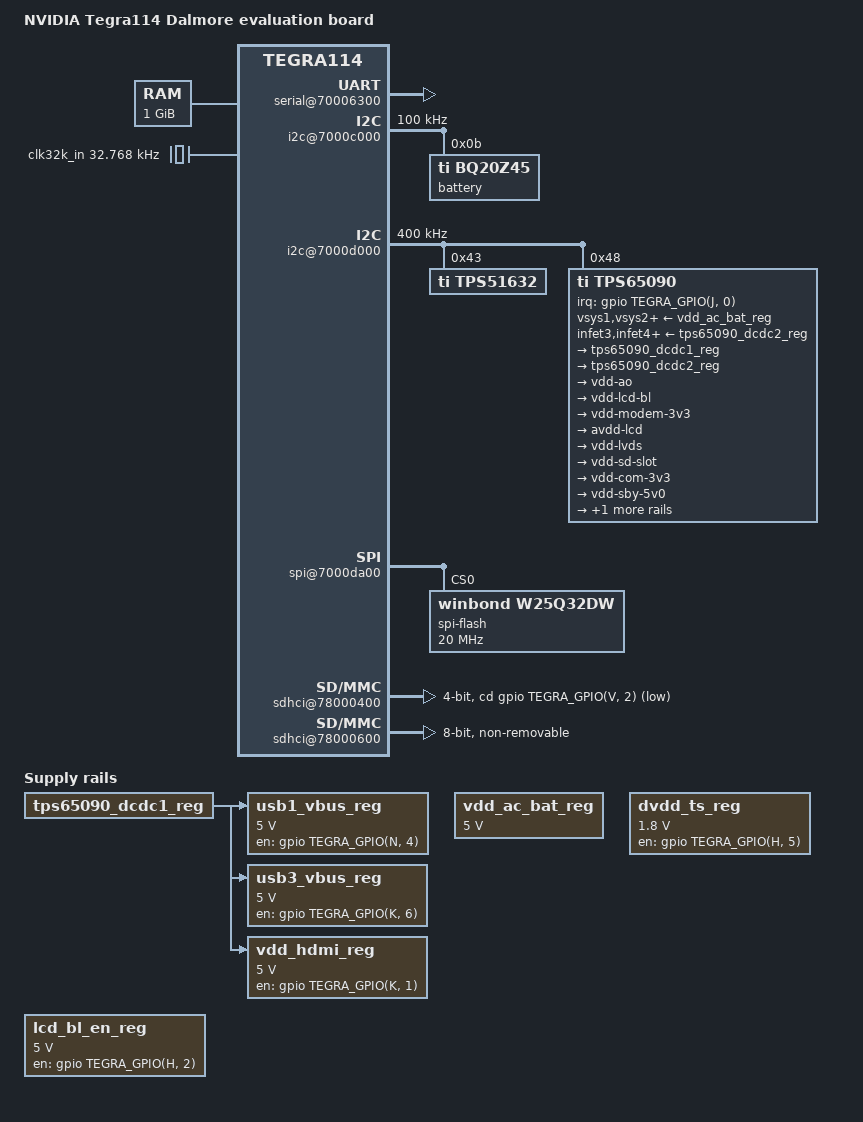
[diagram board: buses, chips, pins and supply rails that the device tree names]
/dts-v1/;

#include "tegra114.dtsi"

/ {
	model = "NVIDIA Tegra114 Dalmore evaluation board";
	compatible = "nvidia,dalmore", "nvidia,tegra114";

	memory {
		reg = <0x80000000 0x40000000>;
	};

	pinmux {
		pinctrl-names = "default";
		pinctrl-0 = <&state_default>;

		state_default: pinmux {
			clk1_out_pw4 {
				nvidia,pins = "clk1_out_pw4";
				nvidia,function = "extperiph1";
				nvidia,pull = <0>;
				nvidia,tristate = <0>;
				nvidia,enable-input = <0>;
			};
			dap1_din_pn1 {
				nvidia,pins = "dap1_din_pn1";
				nvidia,function = "i2s0";
				nvidia,pull = <0>;
				nvidia,tristate = <1>;
				nvidia,enable-input = <1>;
			};
			dap1_dout_pn2 {
				nvidia,pins = "dap1_dout_pn2",
						"dap1_fs_pn0",
						"dap1_sclk_pn3";
				nvidia,function = "i2s0";
				nvidia,pull = <0>;
				nvidia,tristate = <0>;
				nvidia,enable-input = <1>;
			};
			dap2_din_pa4 {
				nvidia,pins = "dap2_din_pa4";
				nvidia,function = "i2s1";
				nvidia,pull = <0>;
				nvidia,tristate = <1>;
				nvidia,enable-input = <1>;
			};
			dap2_dout_pa5 {
				nvidia,pins = "dap2_dout_pa5",
						"dap2_fs_pa2",
						"dap2_sclk_pa3";
				nvidia,function = "i2s1";
				nvidia,pull = <0>;
				nvidia,tristate = <0>;
				nvidia,enable-input = <1>;
			};
			dap4_din_pp5 {
				nvidia,pins = "dap4_din_pp5",
						"dap4_dout_pp6",
						"dap4_fs_pp4",
						"dap4_sclk_pp7";
				nvidia,function = "i2s3";
				nvidia,pull = <0>;
				nvidia,tristate = <0>;
				nvidia,enable-input = <1>;
			};
			dvfs_pwm_px0 {
				nvidia,pins = "dvfs_pwm_px0",
						"dvfs_clk_px2";
				nvidia,function = "cldvfs";
				nvidia,pull = <0>;
				nvidia,tristate = <0>;
				nvidia,enable-input = <0>;
			};
			ulpi_clk_py0 {
				nvidia,pins = "ulpi_clk_py0",
						"ulpi_data0_po1",
						"ulpi_data1_po2",
						"ulpi_data2_po3",
						"ulpi_data3_po4",
						"ulpi_data4_po5",
						"ulpi_data5_po6",
						"ulpi_data6_po7",
						"ulpi_data7_po0";
				nvidia,function = "ulpi";
				nvidia,pull = <0>;
				nvidia,tristate = <0>;
				nvidia,enable-input = <1>;
			};
			ulpi_dir_py1 {
				nvidia,pins = "ulpi_dir_py1",
						"ulpi_nxt_py2";
				nvidia,function = "ulpi";
				nvidia,pull = <0>;
				nvidia,tristate = <1>;
				nvidia,enable-input = <1>;
			};
			ulpi_stp_py3 {
				nvidia,pins = "ulpi_stp_py3";
				nvidia,function = "ulpi";
				nvidia,pull = <0>;
				nvidia,tristate = <0>;
				nvidia,enable-input = <0>;
			};
			cam_i2c_scl_pbb1 {
				nvidia,pins = "cam_i2c_scl_pbb1",
						"cam_i2c_sda_pbb2";
				nvidia,function = "i2c3";
				nvidia,pull = <0>;
				nvidia,tristate = <0>;
				nvidia,enable-input = <1>;
				nvidia,lock = <0>;
				nvidia,open-drain = <0>;
			};
			cam_mclk_pcc0 {
				nvidia,pins = "cam_mclk_pcc0",
						"pbb0";
				nvidia,function = "vi_alt3";
				nvidia,pull = <0>;
				nvidia,tristate = <0>;
				nvidia,enable-input = <0>;
				nvidia,lock = <0>;
			};
			gen2_i2c_scl_pt5 {
				nvidia,pins = "gen2_i2c_scl_pt5",
						"gen2_i2c_sda_pt6";
				nvidia,function = "i2c2";
				nvidia,pull = <0>;
				nvidia,tristate = <0>;
				nvidia,enable-input = <1>;
				nvidia,lock = <0>;
				nvidia,open-drain = <0>;
			};
			gmi_a16_pj7 {
				nvidia,pins = "gmi_a16_pj7";
				nvidia,function = "uartd";
				nvidia,pull = <0>;
				nvidia,tristate = <0>;
				nvidia,enable-input = <0>;
			};
			gmi_a17_pb0 {
				nvidia,pins = "gmi_a17_pb0",
						"gmi_a18_pb1";
				nvidia,function = "uartd";
				nvidia,pull = <0>;
				nvidia,tristate = <1>;
				nvidia,enable-input = <1>;
			};
			gmi_a19_pk7 {
				nvidia,pins = "gmi_a19_pk7";
				nvidia,function = "uartd";
				nvidia,pull = <0>;
				nvidia,tristate = <0>;
				nvidia,enable-input = <0>;
			};
			gmi_ad5_pg5 {
				nvidia,pins = "gmi_ad5_pg5",
						"gmi_cs6_n_pi3",
						"gmi_wr_n_pi0";
				nvidia,function = "spi4";
				nvidia,pull = <0>;
				nvidia,tristate = <0>;
				nvidia,enable-input = <1>;
			};
			gmi_ad6_pg6 {
				nvidia,pins = "gmi_ad6_pg6",
						"gmi_ad7_pg7";
				nvidia,function = "spi4";
				nvidia,pull = <2>;
				nvidia,tristate = <0>;
				nvidia,enable-input = <1>;
			};
			gmi_ad12_ph4 {
				nvidia,pins = "gmi_ad12_ph4";
				nvidia,function = "rsvd4";
				nvidia,pull = <0>;
				nvidia,tristate = <0>;
				nvidia,enable-input = <0>;
			};
			gmi_ad9_ph1 {
				nvidia,pins = "gmi_ad9_ph1";
				nvidia,function = "pwm1";
				nvidia,pull = <0>;
				nvidia,tristate = <0>;
				nvidia,enable-input = <0>;
			};
			gmi_cs1_n_pj2 {
				nvidia,pins = "gmi_cs1_n_pj2",
						"gmi_oe_n_pi1";
				nvidia,function = "soc";
				nvidia,pull = <0>;
				nvidia,tristate = <1>;
				nvidia,enable-input = <1>;
			};
			clk2_out_pw5 {
				nvidia,pins = "clk2_out_pw5";
				nvidia,function = "extperiph2";
				nvidia,pull = <0>;
				nvidia,tristate = <0>;
				nvidia,enable-input = <0>;
			};
			sdmmc1_clk_pz0 {
				nvidia,pins = "sdmmc1_clk_pz0";
				nvidia,function = "sdmmc1";
				nvidia,pull = <0>;
				nvidia,tristate = <0>;
				nvidia,enable-input = <1>;
			};
			sdmmc1_cmd_pz1 {
				nvidia,pins = "sdmmc1_cmd_pz1",
						"sdmmc1_dat0_py7",
						"sdmmc1_dat1_py6",
						"sdmmc1_dat2_py5",
						"sdmmc1_dat3_py4";
				nvidia,function = "sdmmc1";
				nvidia,pull = <2>;
				nvidia,tristate = <0>;
				nvidia,enable-input = <1>;
			};
			sdmmc1_wp_n_pv3 {
				nvidia,pins = "sdmmc1_wp_n_pv3";
				nvidia,function = "spi4";
				nvidia,pull = <2>;
				nvidia,tristate = <0>;
				nvidia,enable-input = <0>;
			};
			sdmmc3_clk_pa6 {
				nvidia,pins = "sdmmc3_clk_pa6";
				nvidia,function = "sdmmc3";
				nvidia,pull = <0>;
				nvidia,tristate = <0>;
				nvidia,enable-input = <1>;
			};
			sdmmc3_cmd_pa7 {
				nvidia,pins = "sdmmc3_cmd_pa7",
						"sdmmc3_dat0_pb7",
						"sdmmc3_dat1_pb6",
						"sdmmc3_dat2_pb5",
						"sdmmc3_dat3_pb4",
						"kb_col4_pq4",
						"sdmmc3_clk_lb_out_pee4",
						"sdmmc3_clk_lb_in_pee5";
				nvidia,function = "sdmmc3";
				nvidia,pull = <2>;
				nvidia,tristate = <0>;
				nvidia,enable-input = <1>;
			};
			sdmmc4_clk_pcc4 {
				nvidia,pins = "sdmmc4_clk_pcc4";
				nvidia,function = "sdmmc4";
				nvidia,pull = <0>;
				nvidia,tristate = <0>;
				nvidia,enable-input = <1>;
			};
			sdmmc4_cmd_pt7 {
				nvidia,pins = "sdmmc4_cmd_pt7",
						"sdmmc4_dat0_paa0",
						"sdmmc4_dat1_paa1",
						"sdmmc4_dat2_paa2",
						"sdmmc4_dat3_paa3",
						"sdmmc4_dat4_paa4",
						"sdmmc4_dat5_paa5",
						"sdmmc4_dat6_paa6",
						"sdmmc4_dat7_paa7";
				nvidia,function = "sdmmc4";
				nvidia,pull = <2>;
				nvidia,tristate = <0>;
				nvidia,enable-input = <1>;
			};
			clk_32k_out_pa0 {
				nvidia,pins = "clk_32k_out_pa0";
				nvidia,function = "blink";
				nvidia,pull = <0>;
				nvidia,tristate = <0>;
				nvidia,enable-input = <0>;
			};
			kb_col0_pq0 {
				nvidia,pins = "kb_col0_pq0",
						"kb_col1_pq1",
						"kb_col2_pq2",
						"kb_row0_pr0",
						"kb_row1_pr1",
						"kb_row2_pr2";
				nvidia,function = "kbc";
				nvidia,pull = <2>;
				nvidia,tristate = <0>;
				nvidia,enable-input = <1>;
			};
			dap3_din_pp1 {
				nvidia,pins = "dap3_din_pp1",
						"dap3_sclk_pp3";
				nvidia,function = "displayb";
				nvidia,pull = <0>;
				nvidia,tristate = <1>;
				nvidia,enable-input = <0>;
			};
			pv0 {
				nvidia,pins = "pv0";
				nvidia,function = "rsvd4";
				nvidia,pull = <0>;
				nvidia,tristate = <1>;
				nvidia,enable-input = <0>;
			};
			kb_row7_pr7 {
				nvidia,pins = "kb_row7_pr7";
				nvidia,function = "rsvd2";
				nvidia,pull = <2>;
				nvidia,tristate = <0>;
				nvidia,enable-input = <1>;
			};
			kb_row10_ps2 {
				nvidia,pins = "kb_row10_ps2";
				nvidia,function = "uarta";
				nvidia,pull = <0>;
				nvidia,tristate = <1>;
				nvidia,enable-input = <1>;
			};
			kb_row9_ps1 {
				nvidia,pins = "kb_row9_ps1";
				nvidia,function = "uarta";
				nvidia,pull = <0>;
				nvidia,tristate = <0>;
				nvidia,enable-input = <0>;
			};
			pwr_i2c_scl_pz6 {
				nvidia,pins = "pwr_i2c_scl_pz6",
						"pwr_i2c_sda_pz7";
				nvidia,function = "i2cpwr";
				nvidia,pull = <0>;
				nvidia,tristate = <0>;
				nvidia,enable-input = <1>;
				nvidia,lock = <0>;
				nvidia,open-drain = <0>;
			};
			sys_clk_req_pz5 {
				nvidia,pins = "sys_clk_req_pz5";
				nvidia,function = "sysclk";
				nvidia,pull = <0>;
				nvidia,tristate = <0>;
				nvidia,enable-input = <0>;
			};
			core_pwr_req {
				nvidia,pins = "core_pwr_req";
				nvidia,function = "pwron";
				nvidia,pull = <0>;
				nvidia,tristate = <0>;
				nvidia,enable-input = <0>;
			};
			cpu_pwr_req {
				nvidia,pins = "cpu_pwr_req";
				nvidia,function = "cpu";
				nvidia,pull = <0>;
				nvidia,tristate = <0>;
				nvidia,enable-input = <0>;
			};
			pwr_int_n {
				nvidia,pins = "pwr_int_n";
				nvidia,function = "pmi";
				nvidia,pull = <0>;
				nvidia,tristate = <1>;
				nvidia,enable-input = <1>;
			};
			reset_out_n {
				nvidia,pins = "reset_out_n";
				nvidia,function = "reset_out_n";
				nvidia,pull = <0>;
				nvidia,tristate = <0>;
				nvidia,enable-input = <0>;
			};
			clk3_out_pee0 {
				nvidia,pins = "clk3_out_pee0";
				nvidia,function = "extperiph3";
				nvidia,pull = <0>;
				nvidia,tristate = <0>;
				nvidia,enable-input = <0>;
			};
			gen1_i2c_scl_pc4 {
				nvidia,pins = "gen1_i2c_scl_pc4",
						"gen1_i2c_sda_pc5";
				nvidia,function = "i2c1";
				nvidia,pull = <0>;
				nvidia,tristate = <0>;
				nvidia,enable-input = <1>;
				nvidia,lock = <0>;
				nvidia,open-drain = <0>;
			};
			uart2_cts_n_pj5 {
				nvidia,pins = "uart2_cts_n_pj5";
				nvidia,function = "uartb";
				nvidia,pull = <0>;
				nvidia,tristate = <1>;
				nvidia,enable-input = <1>;
			};
			uart2_rts_n_pj6 {
				nvidia,pins = "uart2_rts_n_pj6";
				nvidia,function = "uartb";
				nvidia,pull = <0>;
				nvidia,tristate = <0>;
				nvidia,enable-input = <0>;
			};
			uart2_rxd_pc3 {
				nvidia,pins = "uart2_rxd_pc3";
				nvidia,function = "irda";
				nvidia,pull = <0>;
				nvidia,tristate = <1>;
				nvidia,enable-input = <1>;
			};
			uart2_txd_pc2 {
				nvidia,pins = "uart2_txd_pc2";
				nvidia,function = "irda";
				nvidia,pull = <0>;
				nvidia,tristate = <0>;
				nvidia,enable-input = <0>;
			};
			uart3_cts_n_pa1 {
				nvidia,pins = "uart3_cts_n_pa1",
						"uart3_rxd_pw7";
				nvidia,function = "uartc";
				nvidia,pull = <0>;
				nvidia,tristate = <1>;
				nvidia,enable-input = <1>;
			};
			uart3_rts_n_pc0 {
				nvidia,pins = "uart3_rts_n_pc0",
						"uart3_txd_pw6";
				nvidia,function = "uartc";
				nvidia,pull = <0>;
				nvidia,tristate = <0>;
				nvidia,enable-input = <0>;
			};
			owr {
				nvidia,pins = "owr";
				nvidia,function = "owr";
				nvidia,pull = <0>;
				nvidia,tristate = <0>;
				nvidia,enable-input = <1>;
			};
			hdmi_cec_pee3 {
				nvidia,pins = "hdmi_cec_pee3";
				nvidia,function = "cec";
				nvidia,pull = <0>;
				nvidia,tristate = <0>;
				nvidia,enable-input = <1>;
				nvidia,lock = <0>;
				nvidia,open-drain = <0>;
			};
			ddc_scl_pv4 {
				nvidia,pins = "ddc_scl_pv4",
						"ddc_sda_pv5";
				nvidia,function = "i2c4";
				nvidia,pull = <0>;
				nvidia,tristate = <0>;
				nvidia,enable-input = <1>;
				nvidia,lock = <0>;
				nvidia,rcv-sel = <1>;
			};
			spdif_in_pk6 {
				nvidia,pins = "spdif_in_pk6";
				nvidia,function = "usb";
				nvidia,pull = <2>;
				nvidia,tristate = <0>;
				nvidia,enable-input = <1>;
				nvidia,lock = <0>;
			};
			usb_vbus_en0_pn4 {
				nvidia,pins = "usb_vbus_en0_pn4";
				nvidia,function = "usb";
				nvidia,pull = <2>;
				nvidia,tristate = <0>;
				nvidia,enable-input = <1>;
				nvidia,lock = <0>;
				nvidia,open-drain = <1>;
			};
			gpio_x6_aud_px6 {
				nvidia,pins = "gpio_x6_aud_px6";
				nvidia,function = "spi6";
				nvidia,pull = <2>;
				nvidia,tristate = <1>;
				nvidia,enable-input = <1>;
			};
			gpio_x4_aud_px4 {
				nvidia,pins = "gpio_x4_aud_px4",
						"gpio_x7_aud_px7";
				nvidia,function = "rsvd1";
				nvidia,pull = <1>;
				nvidia,tristate = <0>;
				nvidia,enable-input = <0>;
			};
			gpio_x5_aud_px5 {
				nvidia,pins = "gpio_x5_aud_px5";
				nvidia,function = "rsvd1";
				nvidia,pull = <2>;
				nvidia,tristate = <0>;
				nvidia,enable-input = <1>;
			};
			gpio_w2_aud_pw2 {
				nvidia,pins = "gpio_w2_aud_pw2";
				nvidia,function = "rsvd2";
				nvidia,pull = <2>;
				nvidia,tristate = <0>;
				nvidia,enable-input = <1>;
			};
			gpio_w3_aud_pw3 {
				nvidia,pins = "gpio_w3_aud_pw3";
				nvidia,function = "spi6";
				nvidia,pull = <2>;
				nvidia,tristate = <0>;
				nvidia,enable-input = <1>;
			};
			gpio_x1_aud_px1 {
				nvidia,pins = "gpio_x1_aud_px1";
				nvidia,function = "rsvd4";
				nvidia,pull = <1>;
				nvidia,tristate = <0>;
				nvidia,enable-input = <1>;
			};
			gpio_x3_aud_px3 {
				nvidia,pins = "gpio_x3_aud_px3";
				nvidia,function = "rsvd4";
				nvidia,pull = <2>;
				nvidia,tristate = <0>;
				nvidia,enable-input = <1>;
			};
			dap3_fs_pp0 {
				nvidia,pins = "dap3_fs_pp0";
				nvidia,function = "i2s2";
				nvidia,pull = <1>;
				nvidia,tristate = <0>;
				nvidia,enable-input = <0>;
			};
			dap3_dout_pp2 {
				nvidia,pins = "dap3_dout_pp2";
				nvidia,function = "i2s2";
				nvidia,pull = <1>;
				nvidia,tristate = <0>;
				nvidia,enable-input = <0>;
			};
			pv1 {
				nvidia,pins = "pv1";
				nvidia,function = "rsvd1";
				nvidia,pull = <0>;
				nvidia,tristate = <0>;
				nvidia,enable-input = <1>;
			};
			pbb3 {
				nvidia,pins = "pbb3",
						"pbb5",
						"pbb6",
						"pbb7";
				nvidia,function = "rsvd4";
				nvidia,pull = <1>;
				nvidia,tristate = <0>;
				nvidia,enable-input = <0>;
			};
			pcc1 {
				nvidia,pins = "pcc1",
						"pcc2";
				nvidia,function = "rsvd4";
				nvidia,pull = <1>;
				nvidia,tristate = <0>;
				nvidia,enable-input = <1>;
			};
			gmi_ad0_pg0 {
				nvidia,pins = "gmi_ad0_pg0",
						"gmi_ad1_pg1";
				nvidia,function = "gmi";
				nvidia,pull = <0>;
				nvidia,tristate = <0>;
				nvidia,enable-input = <0>;
			};
			gmi_ad10_ph2 {
				nvidia,pins = "gmi_ad10_ph2",
						"gmi_ad11_ph3",
						"gmi_ad13_ph5",
						"gmi_ad8_ph0",
						"gmi_clk_pk1";
				nvidia,function = "gmi";
				nvidia,pull = <1>;
				nvidia,tristate = <0>;
				nvidia,enable-input = <0>;
			};
			gmi_ad2_pg2 {
				nvidia,pins = "gmi_ad2_pg2",
						"gmi_ad3_pg3";
				nvidia,function = "gmi";
				nvidia,pull = <0>;
				nvidia,tristate = <0>;
				nvidia,enable-input = <1>;
			};
			gmi_adv_n_pk0 {
				nvidia,pins = "gmi_adv_n_pk0",
						"gmi_cs0_n_pj0",
						"gmi_cs2_n_pk3",
						"gmi_cs4_n_pk2",
						"gmi_cs7_n_pi6",
						"gmi_dqs_p_pj3",
						"gmi_iordy_pi5",
						"gmi_wp_n_pc7";
				nvidia,function = "gmi";
				nvidia,pull = <2>;
				nvidia,tristate = <0>;
				nvidia,enable-input = <1>;
			};
			gmi_cs3_n_pk4 {
				nvidia,pins = "gmi_cs3_n_pk4";
				nvidia,function = "gmi";
				nvidia,pull = <2>;
				nvidia,tristate = <0>;
				nvidia,enable-input = <0>;
			};
			clk2_req_pcc5 {
				nvidia,pins = "clk2_req_pcc5";
				nvidia,function = "rsvd4";
				nvidia,pull = <0>;
				nvidia,tristate = <0>;
				nvidia,enable-input = <0>;
			};
			kb_col3_pq3 {
				nvidia,pins = "kb_col3_pq3",
						"kb_col6_pq6",
						"kb_col7_pq7";
				nvidia,function = "kbc";
				nvidia,pull = <2>;
				nvidia,tristate = <0>;
				nvidia,enable-input = <0>;
			};
			kb_col5_pq5 {
				nvidia,pins = "kb_col5_pq5";
				nvidia,function = "kbc";
				nvidia,pull = <2>;
				nvidia,tristate = <0>;
				nvidia,enable-input = <1>;
			};
			kb_row3_pr3 {
				nvidia,pins = "kb_row3_pr3",
						"kb_row4_pr4",
						"kb_row6_pr6",
						"kb_row8_ps0";
				nvidia,function = "kbc";
				nvidia,pull = <1>;
				nvidia,tristate = <0>;
				nvidia,enable-input = <1>;
			};
			clk3_req_pee1 {
				nvidia,pins = "clk3_req_pee1";
				nvidia,function = "rsvd4";
				nvidia,pull = <0>;
				nvidia,tristate = <0>;
				nvidia,enable-input = <0>;
			};
			pu4 {
				nvidia,pins = "pu4";
				nvidia,function = "displayb";
				nvidia,pull = <0>;
				nvidia,tristate = <0>;
				nvidia,enable-input = <0>;
			};
			pu5 {
				nvidia,pins = "pu5",
						"pu6";
				nvidia,function = "displayb";
				nvidia,pull = <0>;
				nvidia,tristate = <0>;
				nvidia,enable-input = <1>;
			};
			hdmi_int_pn7 {
				nvidia,pins = "hdmi_int_pn7";
				nvidia,function = "rsvd1";
				nvidia,pull = <1>;
				nvidia,tristate = <0>;
				nvidia,enable-input = <1>;
			};
			clk1_req_pee2 {
				nvidia,pins = "clk1_req_pee2",
						"usb_vbus_en1_pn5";
				nvidia,function = "rsvd4";
				nvidia,pull = <1>;
				nvidia,tristate = <1>;
				nvidia,enable-input = <0>;
			};

			drive_sdio1 {
				nvidia,pins = "drive_sdio1";
				nvidia,high-speed-mode = <1>;
				nvidia,schmitt = <0>;
				nvidia,low-power-mode = <3>;
				nvidia,pull-down-strength = <36>;
				nvidia,pull-up-strength = <20>;
				nvidia,slew-rate-rising = <2>;
				nvidia,slew-rate-falling = <2>;
			};
			drive_sdio3 {
				nvidia,pins = "drive_sdio3";
				nvidia,high-speed-mode = <1>;
				nvidia,schmitt = <0>;
				nvidia,low-power-mode = <3>;
				nvidia,pull-down-strength = <22>;
				nvidia,pull-up-strength = <36>;
				nvidia,slew-rate-rising = <0>;
				nvidia,slew-rate-falling = <0>;
			};
			drive_gma {
				nvidia,pins = "drive_gma";
				nvidia,high-speed-mode = <1>;
				nvidia,schmitt = <0>;
				nvidia,low-power-mode = <3>;
				nvidia,pull-down-strength = <2>;
				nvidia,pull-up-strength = <1>;
				nvidia,slew-rate-rising = <0>;
				nvidia,slew-rate-falling = <0>;
				nvidia,drive-type = <1>;
			};
		};
	};

	serial@70006300 {
		status = "okay";
	};

	i2c@7000c000 {
		status = "okay";
		clock-frequency = <100000>;

		battery: smart-battery {
			compatible = "ti,bq20z45", "sbs,sbs-battery";
			reg = <0xb>;
			battery-name = "battery";
			sbs,i2c-retry-count = <2>;
			sbs,poll-retry-count = <100>;
			power-supplies = <&charger>;
		};
	};

	i2c@7000d000 {
		status = "okay";
		clock-frequency = <400000>;

		tps51632 {
			compatible = "ti,tps51632";
			reg = <0x43>;
			regulator-name = "vdd-cpu";
			regulator-min-microvolt = <500000>;
			regulator-max-microvolt = <1520000>;
			regulator-boot-on;
			regulator-always-on;
		};

		tps65090 {
			compatible = "ti,tps65090";
			reg = <0x48>;
			interrupt-parent = <&gpio>;
			interrupts = <TEGRA_GPIO(J, 0) IRQ_TYPE_LEVEL_HIGH>;

			vsys1-supply = <&vdd_ac_bat_reg>;
			vsys2-supply = <&vdd_ac_bat_reg>;
			vsys3-supply = <&vdd_ac_bat_reg>;
			infet1-supply = <&vdd_ac_bat_reg>;
			infet2-supply = <&vdd_ac_bat_reg>;
			infet3-supply = <&tps65090_dcdc2_reg>;
			infet4-supply = <&tps65090_dcdc2_reg>;
			infet5-supply = <&tps65090_dcdc2_reg>;
			infet6-supply = <&tps65090_dcdc2_reg>;
			infet7-supply = <&tps65090_dcdc2_reg>;
			vsys-l1-supply = <&vdd_ac_bat_reg>;
			vsys-l2-supply = <&vdd_ac_bat_reg>;

			charger: charger {
				compatible = "ti,tps65090-charger";
				ti,enable-low-current-chrg;
			};

			regulators {
				tps65090_dcdc1_reg: dcdc1 {
					regulator-name = "vdd-sys-5v0";
					regulator-always-on;
					regulator-boot-on;
				};

				tps65090_dcdc2_reg: dcdc2 {
					regulator-name = "vdd-sys-3v3";
					regulator-always-on;
					regulator-boot-on;
				};

				dcdc3 {
					regulator-name = "vdd-ao";
					regulator-always-on;
					regulator-boot-on;
				};

				fet1 {
					regulator-name = "vdd-lcd-bl";
				};

				fet3 {
					regulator-name = "vdd-modem-3v3";
				};

				fet4 {
					regulator-name = "avdd-lcd";
				};

				fet5 {
					regulator-name = "vdd-lvds";
				};

				fet6 {
					regulator-name = "vdd-sd-slot";
					regulator-always-on;
					regulator-boot-on;
				};

				fet7 {
					regulator-name = "vdd-com-3v3";
				};

				ldo1 {
					regulator-name = "vdd-sby-5v0";
					regulator-always-on;
					regulator-boot-on;
				};

				ldo2 {
					regulator-name = "vdd-sby-3v3";
					regulator-always-on;
					regulator-boot-on;
				};
			};
		};
	};

	spi@7000da00 {
		status = "okay";
		spi-max-frequency = <25000000>;
		spi-flash@0 {
			compatible = "winbond,w25q32dw";
			reg = <0>;
			spi-max-frequency = <20000000>;
		};
	};

	pmc {
		nvidia,invert-interrupt;
	};

	sdhci@78000400 {
		cd-gpios = <&gpio TEGRA_GPIO(V, 2) GPIO_ACTIVE_LOW>;
		bus-width = <4>;
		status = "okay";
	};

	sdhci@78000600 {
		bus-width = <8>;
		status = "okay";
		non-removable;
	};

	clocks {
		compatible = "simple-bus";
		#address-cells = <1>;
		#size-cells = <0>;

		clk32k_in: clock {
			compatible = "fixed-clock";
			reg=<0>;
			#clock-cells = <0>;
			clock-frequency = <32768>;
		};
	};

	regulators {
		compatible = "simple-bus";
		#address-cells = <1>;
		#size-cells = <0>;

		vdd_ac_bat_reg: regulator@0 {
			compatible = "regulator-fixed";
			reg = <0>;
			regulator-name = "vdd_ac_bat";
			regulator-min-microvolt = <5000000>;
			regulator-max-microvolt = <5000000>;
			regulator-always-on;
		};

		dvdd_ts_reg: regulator@1 {
			compatible = "regulator-fixed";
			reg = <1>;
			regulator-name = "dvdd_ts";
			regulator-min-microvolt = <1800000>;
			regulator-max-microvolt = <1800000>;
			enable-active-high;
			gpio = <&gpio TEGRA_GPIO(H, 5) GPIO_ACTIVE_HIGH>;
		};

		lcd_bl_en_reg: regulator@2 {
			compatible = "regulator-fixed";
			reg = <2>;
			regulator-name = "lcd_bl_en";
			regulator-min-microvolt = <5000000>;
			regulator-max-microvolt = <5000000>;
			enable-active-high;
			gpio = <&gpio TEGRA_GPIO(H, 2) GPIO_ACTIVE_HIGH>;
		};

		usb1_vbus_reg: regulator@3 {
			compatible = "regulator-fixed";
			reg = <3>;
			regulator-name = "usb1_vbus";
			regulator-min-microvolt = <5000000>;
			regulator-max-microvolt = <5000000>;
			enable-active-high;
			gpio = <&gpio TEGRA_GPIO(N, 4) GPIO_ACTIVE_HIGH>;
			gpio-open-drain;
			vin-supply = <&tps65090_dcdc1_reg>;
		};

		usb3_vbus_reg: regulator@4 {
			compatible = "regulator-fixed";
			reg = <4>;
			regulator-name = "usb2_vbus";
			regulator-min-microvolt = <5000000>;
			regulator-max-microvolt = <5000000>;
			enable-active-high;
			gpio = <&gpio TEGRA_GPIO(K, 6) GPIO_ACTIVE_HIGH>;
			gpio-open-drain;
			vin-supply = <&tps65090_dcdc1_reg>;
		};

		vdd_hdmi_reg: regulator@5 {
			compatible = "regulator-fixed";
			reg = <5>;
			regulator-name = "vdd_hdmi_5v0";
			regulator-min-microvolt = <5000000>;
			regulator-max-microvolt = <5000000>;
			enable-active-high;
			gpio = <&gpio TEGRA_GPIO(K, 1) GPIO_ACTIVE_HIGH>;
			vin-supply = <&tps65090_dcdc1_reg>;
		};
	};
};
